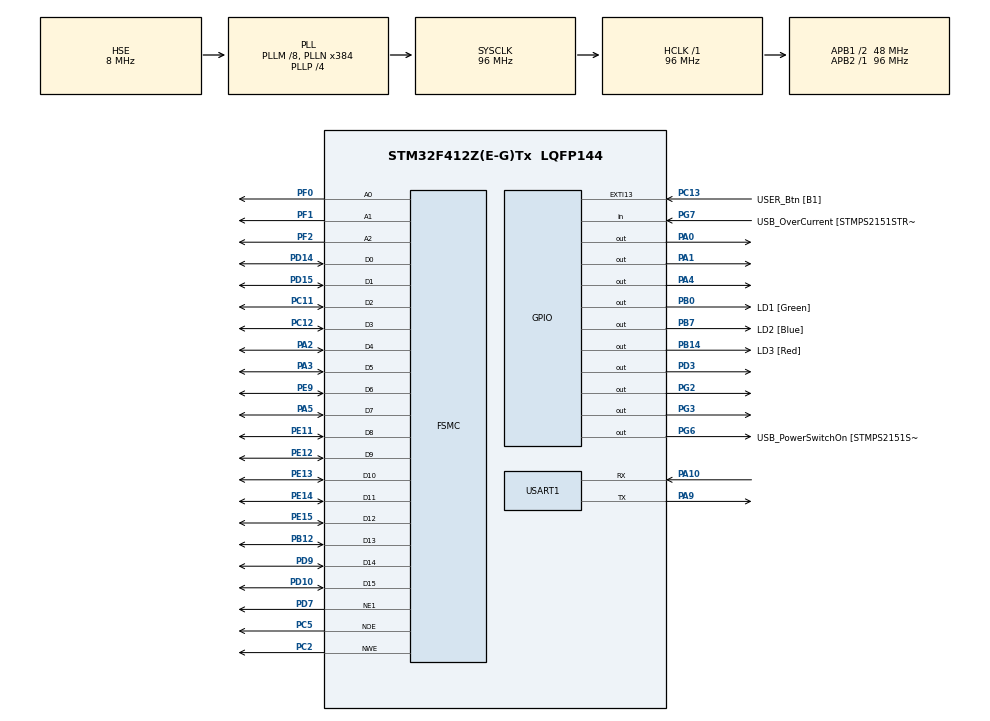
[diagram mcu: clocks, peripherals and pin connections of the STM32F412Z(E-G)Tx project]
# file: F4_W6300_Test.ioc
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FSMC.WriteOperation1=FSMC_WRITE_OPERATION_ENABLE
Mcu.Family=STM32F4
Mcu.Name=STM32F412Z(E-G)Tx
Mcu.Package=LQFP144
NVIC.PriorityGroup=NVIC_PRIORITYGROUP_4
NVIC.USART1_IRQn=true\:0\:0\:false\:false\:true\:true\:true
PA0.Signal=GPIO_Output
PA1.Signal=GPIO_Output
PA10.Mode=Asynchronous
PA10.Signal=USART1_RX
PA13.GPIO_Label=TMS
PA13.Mode=Serial_Wire
PA13.Signal=SYS_JTMS-SWDIO
PA14.GPIO_Label=TCK
PA14.Mode=Serial_Wire
PA14.Signal=SYS_JTCK-SWCLK
PA2.Signal=FSMC_D4_DA4
PA3.Signal=FSMC_D5_DA5
PA4.Signal=GPIO_Output
PA5.Signal=FSMC_D7_DA7
PA9.Mode=Asynchronous
PA9.Signal=USART1_TX
PB0.GPIO_Label=LD1 [Green]
PB0.Signal=GPIO_Output
PB12.Signal=FSMC_D13_DA13
PB14.GPIO_Label=LD3 [Red]
PB14.Signal=GPIO_Output
PB3.GPIO_Label=SWO
PB3.Signal=SYS_JTDO-SWO
PB7.GPIO_Label=LD2 [Blue]
PB7.Signal=GPIO_Output
PC11.Signal=FSMC_D2_DA2
PC12.Signal=FSMC_D3_DA3
PC13.GPIO_Label=USER_Btn [B1]
PC13.Signal=GPXTI13
PC14-OSC32_IN.Mode=LSE-External-Oscillator
PC14-OSC32_IN.Signal=RCC_OSC32_IN
PC15-OSC32_OUT.Mode=LSE-External-Oscillator
PC15-OSC32_OUT.Signal=RCC_OSC32_OUT
PC2.Signal=FSMC_NWE
PC5.Signal=FSMC_NOE
PD10.Signal=FSMC_D15_DA15
PD14.Signal=FSMC_D0_DA0
PD15.Signal=FSMC_D1_DA1
PD3.Signal=GPIO_Output
PD7.Mode=NorPsramChipSelect1_1
PD7.Signal=FSMC_NE1
PD9.Signal=FSMC_D14_DA14
PE11.Signal=FSMC_D8_DA8
PE12.Signal=FSMC_D9_DA9
PE13.Signal=FSMC_D10_DA10
PE14.Signal=FSMC_D11_DA11
PE15.Signal=FSMC_D12_DA12
PE9.Signal=FSMC_D6_DA6
PF0.Signal=FSMC_A0
PF1.Signal=FSMC_A1
PF2.Signal=FSMC_A2
PG2.Signal=GPIO_Output
PG3.Signal=GPIO_Output
PG6.GPIO_Label=USB_PowerSwitchOn [STMPS2151STR_EN]
PG6.Signal=GPIO_Output
PG7.GPIO_Label=USB_OverCurrent [STMPS2151STR_FAULT]
PG7.Signal=GPIO_Input
PH0\ -\ OSC_IN.GPIO_Label=MCO
PH0\ -\ OSC_IN.Mode=HSE-External-Clock-Source
PH0\ -\ OSC_IN.Signal=RCC_OSC_IN
PH1\ -\ OSC_OUT.Mode=HSE-External-Clock-Source
PH1\ -\ OSC_OUT.Signal=RCC_OSC_OUT
ProjectManager.HeapSize=0x200
ProjectManager.StackSize=0x400
ProjectManager.TargetToolchain=MDK-ARM V5.27
RCC.48MHZClocksFreq_Value=24000000
RCC.AHBFreq_Value=96000000
RCC.APB1CLKDivider=RCC_HCLK_DIV2
RCC.APB1Freq_Value=48000000
RCC.APB1TimFreq_Value=96000000
RCC.APB2Freq_Value=96000000
RCC.APB2TimFreq_Value=96000000
RCC.CortexFreq_Value=96000000
RCC.HCLKFreq_Value=96000000
RCC.HSE_VALUE=8000000
RCC.HSI_VALUE=16000000
RCC.PLLM=8
RCC.PLLMUL=RCC_PLL_MUL9
RCC.PLLN=384
RCC.PLLP=RCC_PLLP_DIV4
RCC.PLLQ=8
RCC.PLLSourceVirtual=RCC_PLLSOURCE_HSE
RCC.PRESCALERUSB=RCC_USBCLKSOURCE_PLL_DIV1_5
RCC.SYSCLKFreq_VALUE=96000000
RCC.SYSCLKSource=RCC_SYSCLKSOURCE_PLLCLK
RCC.SYSCLKSourceVirtual=RCC_SYSCLKSOURCE_PLLCLK
RCC.USBFreq_Value=48000000
RCC.VCOOutputFreq_Value=384000000
SH.FSMC_A0.0=FSMC_A0,3b-a1
SH.FSMC_A1.0=FSMC_A1,3b-a1
SH.FSMC_A2.0=FSMC_A2,3b-a1
SH.FSMC_D0_DA0.0=FSMC_D0,16b-d1
SH.FSMC_D10_DA10.0=FSMC_D10,16b-d1
SH.FSMC_D11_DA11.0=FSMC_D11,16b-d1
SH.FSMC_D12_DA12.0=FSMC_D12,16b-d1
SH.FSMC_D13_DA13.0=FSMC_D13,16b-d1
SH.FSMC_D14_DA14.0=FSMC_D14,16b-d1
SH.FSMC_D15_DA15.0=FSMC_D15,16b-d1
SH.FSMC_D1_DA1.0=FSMC_D1,16b-d1
SH.FSMC_D2_DA2.0=FSMC_D2,16b-d1
SH.FSMC_D3_DA3.0=FSMC_D3,16b-d1
SH.FSMC_D4_DA4.0=FSMC_D4,16b-d1
SH.FSMC_D5_DA5.0=FSMC_D5,16b-d1
SH.FSMC_D6_DA6.0=FSMC_D6,16b-d1
SH.FSMC_D7_DA7.0=FSMC_D7,16b-d1
SH.FSMC_D8_DA8.0=FSMC_D8,16b-d1
SH.FSMC_D9_DA9.0=FSMC_D9,16b-d1
SH.FSMC_NOE.0=FSMC_NOE,NorFlash1
SH.FSMC_NWE.0=FSMC_NWE,NorFlash1
USART1.VirtualMode=VM_ASYNC
board=NUCLEO-F412ZG

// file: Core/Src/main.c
/* USER CODE BEGIN Header */
/**
  ******************************************************************************
  * @file           : main.c
  * @brief          : Main program body
  ******************************************************************************
  * @attention
  *
  * <h2><center>&copy; Copyright (c) 2021 STMicroelectronics.
  * All rights reserved.</center></h2>
  *
  * This software component is licensed by ST under BSD 3-Clause license,
  * the "License"; You may not use this file except in compliance with the
  * License. You may obtain a copy of the License at:
  *                        opensource.org/licenses/BSD-3-Clause
  *
  ******************************************************************************
  */
/* USER CODE END Header */
#include "main.h"

/* USER CODE BEGIN Includes */
#include "stdio.h"
#include "w6300.h"
#include "wizchip_conf.h"
#include "loopback.h"

/* USER CODE END Includes */

/* USER CODE BEGIN PTD */
#define KEIL //KEIL ,True_STD
#define DATA_BUF_SIZE 512

/* USER CODE END PTD */

/* USER CODE BEGIN PM */
wiz_NetInfo gWIZNETINFO = { .mac = {0x00,0x08,0xdc,0xFF,0xFF,0xFF},
							  .ip = {192,168,1,55},
							  .sn = {255, 255, 255, 0},
							  .gw = {192, 168, 1, 1},
							  .dns = {168, 126, 63, 1},
							  //.dhcp = NETINFO_STATIC,
							  .lla={0xfe,0x80,0x00,0x00,
									  0x00,0x00, 0x00,0x00,
									  0x02,0x08, 0xdc,0xff,
									  0xfe,0x57, 0x57,0x25},   ///< Source Link Local Address
							  .gua={0x00, 0x00, 0x00, 0x00,
									  0x00, 0x00, 0x00, 0x00,
									  0x00, 0x00, 0x00, 0x00,
									  0x00, 0x00, 0x00, 0x00},	 ///< Source Global Unicast Address
							  .sn6={0xff,0xff,0xff,0xff,
									  0xff,0xff,0xff,0xff,
									  0x00, 0x00, 0x00, 0x00,
									  0x00, 0x00, 0x00, 0x00 },   ///< IPv6 Prefix
							  .gw6={0x00, 0x00, 0x00, 0x00,
									  0x00, 0x00, 0x00, 0x00,
									  0x00, 0x00, 0x00, 0x00,
									  0x00, 0x00, 0x00, 0x00}	///< Gateway IPv6 Address
  };

  uint8_t WIZ_Dest_IP_virtual[4] = {192, 168, 0, 230};					//DST_IP Address
  uint8_t WIZ_Dest_IP_Google[4] = {216, 58, 200, 174};				//DST_IP Address

uint8_t mcastipv4_0[4] ={239,1,2,3};
uint8_t mcastipv4_1[4] ={239,1,2,4};
uint8_t mcastipv4_2[4] ={239,1,2,5};
uint8_t mcastipv4_3[4] ={239,1,2,6};

uint16_t WIZ_Dest_PORT = 15000;                                 //DST_IP port

#define ETH_MAX_BUF_SIZE	1024

uint8_t  remote_ip[4] = {192,168,177,200};                      //
uint16_t remote_port = 8080;

unsigned char ethBuf0[ETH_MAX_BUF_SIZE];
unsigned char ethBuf1[ETH_MAX_BUF_SIZE];
unsigned char ethBuf2[ETH_MAX_BUF_SIZE];
unsigned char ethBuf3[ETH_MAX_BUF_SIZE];
unsigned char ethBuf4[ETH_MAX_BUF_SIZE];
unsigned char ethBuf5[ETH_MAX_BUF_SIZE];
unsigned char ethBuf6[ETH_MAX_BUF_SIZE];
unsigned char ethBuf7[ETH_MAX_BUF_SIZE];

uint8_t bLoopback = 1;
uint8_t bRandomPacket = 0;
uint8_t bAnyPacket = 0;
uint16_t pack_size = 0;

void print_network_information(void);
void print_ipv6_addr(uint8_t* name, uint8_t* ip6addr);

/* USER CODE END PM */

UART_HandleTypeDef huart1;

NOR_HandleTypeDef hnor1;

void SystemClock_Config(void);
static void MX_GPIO_Init(void);
static void MX_FSMC_Init(void);
static void MX_USART1_UART_Init(void);

/* USER CODE BEGIN 0 */
#ifdef KEIL
    #if 1
      #ifdef __GNUC__
      //With GCC, small printf (option LD Linker->Libraries->Small printf
      //set to 'Yes') calls __io_putchar()
         #define PUTCHAR_PROTOTYPE int __io_putchar(int ch)
	  #else
		 #define PUTCHAR_PROTOTYPE int fputc(int ch, FILE *f)
	  #endif /* __GNUC__*/
    #if 1
    PUTCHAR_PROTOTYPE
    {
      HAL_UART_Transmit(&huart1, (uint8_t *)&ch, 1, 0xFFFF);
			//ITM_SendChar(ch);
      return ch;
    }
    #endif
		#else
		int fputc(int c, FILE *f)
		{
			//HAL_UART_Transmit(&huart3, (uint8_t *)&c, 1, 0xFFFF);
			return (ITM_SendChar(c));
			//return c;
		}
		#endif
  #endif

  #ifdef True_STD
  int _write(int fd, char *str, int len)
  {
    for(int i=0; i<len; i++)
    {
      HAL_UART_Transmit(&huart1, (uint8_t *)&str[i], 1, 0xFFFF);
    }
    return len;
  }
 #endif
void W6300BusWriteByte(uint32_t addr, iodata_t data)
{
	#if 1	//teddy 210422
	//(*(volatile uint8_t*)(addr)) = (uint8_t)(data);
	(*(__IO uint8_t *)((uint32_t)(addr)) = (data));
	#else
	iodata_t Indata[2]={0, 0};
	Indata[0] = data;
	//printf("W%x:%x ",addr, data);
	if(HAL_SRAM_Write_8b(&hsram1, (uint32_t *)addr, (uint16_t *)data, 1) != HAL_OK)
		printf("BusWritError \r\n");
	#endif
}

iodata_t W6300BusReadByte(uint32_t addr)
{
	#if 1	//teddy 210422
	//return (*((volatile uint8_t*)(addr)));
	return *(__IO uint8_t *)((uint32_t)(addr));
	#else
	iodata_t result[2] = {0,0};
	if(HAL_SRAM_Read_8b(&hsram1, (uint32_t *)addr, (uint16_t *)result, 1) != HAL_OK)
		printf("BussReadError \r\n");
	printf("R%x:%x ", addr, result[0]);
	return result[0];
	#endif
}

void W6300BusWriteBurst(uint32_t addr, uint8_t* pBuf ,uint32_t len,uint8_t addr_inc)
{
#ifdef USE_STDPERIPH_DRIVER

	if(addr_inc){
	 	DMA_TX_InitStructure.DMA_MemoryInc  = DMA_MemoryInc_Enable;

	}
	else 	DMA_TX_InitStructure.DMA_MemoryInc  = DMA_MemoryInc_Disable;

	DMA_TX_InitStructure.DMA_BufferSize = len;
	DMA_TX_InitStructure.DMA_MemoryBaseAddr = addr;
	DMA_TX_InitStructure.DMA_PeripheralBaseAddr = pBuf;

	DMA_Init(W6100_DMA_CHANNEL_TX, &DMA_TX_InitStructure);

	DMA_Cmd(W6100_DMA_CHANNEL_TX, ENABLE);

	/* Enable SPI Rx/Tx DMA Request*/

	/* Waiting for the end of Data Transfer */
	while(DMA_GetFlagStatus(DMA_TX_FLAG) == RESET);

	DMA_ClearFlag(DMA_TX_FLAG);

	DMA_Cmd(W6100_DMA_CHANNEL_TX, DISABLE);

#elif defined USE_HAL_DRIVER

#endif
#if 0
	if(HAL_SRAM_Write_8b(&hsram1, (uint32_t *)addr, pBuf, len) != HAL_OK)
		printf("BusWritError \r\n");
#endif

}

void W6300BusReadBurst(uint32_t addr,uint8_t* pBuf, uint32_t len,uint8_t addr_inc)
{
#ifdef USE_STDPERIPH_DRIVER

	DMA_RX_InitStructure.DMA_BufferSize = len;
	DMA_RX_InitStructure.DMA_MemoryBaseAddr =pBuf;
	DMA_RX_InitStructure.DMA_PeripheralBaseAddr =addr;

	DMA_Init(W6100_DMA_CHANNEL_RX, &DMA_RX_InitStructure);

	DMA_Cmd(W6100_DMA_CHANNEL_RX, ENABLE);
	/* Waiting for the end of Data Transfer */
	while(DMA_GetFlagStatus(DMA_RX_FLAG) == RESET);

	DMA_ClearFlag(DMA_RX_FLAG);

	DMA_Cmd(W6100_DMA_CHANNEL_RX, DISABLE);

#elif defined USE_HAL_DRIVER

#endif
#if 0
	if(HAL_SRAM_Read_8b(&hsram1, (uint32_t *)addr, pBuf, len) != HAL_OK)
			printf("BussReadError \r\n");
#endif

}
void W6300CsEnable(void)
{
#if 0
	__HAL_LOCK(&hsram1);
	hsram1.State = HAL_SRAM_STATE_BUSY;
#endif
}

void W6300CsDisable(void)
{
#if 0
	__HAL_UNLOCK(&hsram1);
	hsram1.State = HAL_SRAM_STATE_READY;
#endif
}

void W6300Initialze(void)
{
		//W6100Reset();

#if _WIZCHIP_IO_MODE_ & _WIZCHIP_IO_MODE_SPI_
	/* SPI method callback registration */
	#if defined SPI_DMA
		reg_wizchip_spi_cbfunc(W6300SpiReadByte, W6300SpiWriteByte, W6300SpiReadBurst, W6300SpiWriteBurst);
	#else
		reg_wizchip_spi_cbfunc(W6300SpiReadByte, W6300SpiWriteByte, 0, 0);
	#endif
		/* CS function register */
		reg_wizchip_cs_cbfunc(W6100CsEnable, W6100CsDisable);
#else
	/* Indirect bus method callback registration */
	#if defined BUS_DMA
		reg_wizchip_bus_cbfunc(W6300BusReadByte, W6300BusWriteByte, W6300BusReadBurst, W6300BusWriteBurst);
	#else
		reg_wizchip_bus_cbfunc(W6300BusReadByte, W6300BusWriteByte, 0, 0);
	#endif
		reg_wizchip_cs_cbfunc(W6300CsEnable, W6300CsDisable);
#endif
		uint8_t temp;
		unsigned char W6100_AdrSet[2][8] = {{2, 2, 2, 2, 2, 2, 2, 2}, {2, 2, 2, 2, 2, 2, 2, 2}};
		uint16_t RegTemp = 0;
		//RegTemp = (uint16_t)WIZCHIP_READ(_CIDR_);
		//printf("CIDR_ = %04x \r\n", RegTemp);
		RegTemp = getCIDR();
		printf("CIDR = %04x \r\n", RegTemp);
		RegTemp = getVER();
		printf("VER = %04x \r\n", RegTemp);
		#if 0 //teddy st
		do
		{
			if (ctlwizchip(CW_GET_PHYLINK, (void *)&temp) == -1)
			{
				printf("Unknown PHY link status.\r\n");
			}
		} while (temp == PHY_LINK_OFF);

		printf("PHY OK.\r\n");

	#endif
}

/* USER CODE END 0 */

int main(void)
{

  /* MCU Configuration--------------------------------------------------------*/

  /* Reset of all peripherals, Initializes the Flash interface and the Systick. */
  HAL_Init();

  /* Configure the system clock */
  SystemClock_Config();

  /* Initialize all configured peripherals */
  MX_GPIO_Init();
  MX_FSMC_Init();
  MX_USART1_UART_Init();
  /* USER CODE BEGIN 2 */
  printf("Hello Start!!\r\n");
  W6300Initialze();

  /* USER CODE END 2 */

  /* Infinite loop */
  while (1)
  {

  }
}

void SystemClock_Config(void)
{
  RCC_OscInitTypeDef RCC_OscInitStruct = {0};
  RCC_ClkInitTypeDef RCC_ClkInitStruct = {0};

  /** Configure the main internal regulator output voltage
  */
  __HAL_RCC_PWR_CLK_ENABLE();
  __HAL_PWR_VOLTAGESCALING_CONFIG(PWR_REGULATOR_VOLTAGE_SCALE1);
  /** Initializes the RCC Oscillators according to the specified parameters
  * in the RCC_OscInitTypeDef structure.
  */
  RCC_OscInitStruct.OscillatorType = RCC_OSCILLATORTYPE_HSE;
  RCC_OscInitStruct.HSEState = RCC_HSE_BYPASS;
  RCC_OscInitStruct.PLL.PLLState = RCC_PLL_ON;
  RCC_OscInitStruct.PLL.PLLSource = RCC_PLLSOURCE_HSE;
  RCC_OscInitStruct.PLL.PLLM = 8;
  RCC_OscInitStruct.PLL.PLLN = 384;
  RCC_OscInitStruct.PLL.PLLP = RCC_PLLP_DIV4;
  RCC_OscInitStruct.PLL.PLLQ = 8;
  RCC_OscInitStruct.PLL.PLLR = 2;
  if (HAL_RCC_OscConfig(&RCC_OscInitStruct) != HAL_OK)
  {
    Error_Handler();
  }
  /** Initializes the CPU, AHB and APB buses clocks
  */
  RCC_ClkInitStruct.ClockType = RCC_CLOCKTYPE_HCLK|RCC_CLOCKTYPE_SYSCLK
                              |RCC_CLOCKTYPE_PCLK1|RCC_CLOCKTYPE_PCLK2;
  RCC_ClkInitStruct.SYSCLKSource = RCC_SYSCLKSOURCE_PLLCLK;
  RCC_ClkInitStruct.AHBCLKDivider = RCC_SYSCLK_DIV1;
  RCC_ClkInitStruct.APB1CLKDivider = RCC_HCLK_DIV2;
  RCC_ClkInitStruct.APB2CLKDivider = RCC_HCLK_DIV1;

  if (HAL_RCC_ClockConfig(&RCC_ClkInitStruct, FLASH_LATENCY_3) != HAL_OK)
  {
    Error_Handler();
  }
}

static void MX_USART1_UART_Init(void)
{

  huart1.Instance = USART1;
  huart1.Init.BaudRate = 115200;
  huart1.Init.WordLength = UART_WORDLENGTH_8B;
  huart1.Init.StopBits = UART_STOPBITS_1;
  huart1.Init.Parity = UART_PARITY_NONE;
  huart1.Init.Mode = UART_MODE_TX_RX;
  huart1.Init.HwFlowCtl = UART_HWCONTROL_NONE;
  huart1.Init.OverSampling = UART_OVERSAMPLING_16;
  if (HAL_UART_Init(&huart1) != HAL_OK)
  {
    Error_Handler();
  }

}

static void MX_GPIO_Init(void)
{
  GPIO_InitTypeDef GPIO_InitStruct = {0};

  /* GPIO Ports Clock Enable */
  __HAL_RCC_GPIOC_CLK_ENABLE();
  __HAL_RCC_GPIOF_CLK_ENABLE();
  __HAL_RCC_GPIOH_CLK_ENABLE();
  __HAL_RCC_GPIOA_CLK_ENABLE();
  __HAL_RCC_GPIOB_CLK_ENABLE();
  __HAL_RCC_GPIOE_CLK_ENABLE();
  __HAL_RCC_GPIOD_CLK_ENABLE();
  __HAL_RCC_GPIOG_CLK_ENABLE();

  /*Configure GPIO pin Output Level */
  HAL_GPIO_WritePin(GPIOA, GPIO_PIN_0|GPIO_PIN_1|GPIO_PIN_4, GPIO_PIN_RESET);

  /*Configure GPIO pin Output Level */
  HAL_GPIO_WritePin(GPIOB, LD1_Pin|LD3_Pin|LD2_Pin, GPIO_PIN_RESET);

  /*Configure GPIO pin Output Level */
  HAL_GPIO_WritePin(GPIOG, GPIO_PIN_2|GPIO_PIN_3|USB_PowerSwitchOn_Pin, GPIO_PIN_RESET);

  /*Configure GPIO pin Output Level */
  HAL_GPIO_WritePin(GPIOD, GPIO_PIN_3, GPIO_PIN_RESET);

  /*Configure GPIO pin : USER_Btn_Pin */
  GPIO_InitStruct.Pin = USER_Btn_Pin;
  GPIO_InitStruct.Mode = GPIO_MODE_IT_RISING;
  GPIO_InitStruct.Pull = GPIO_NOPULL;
  HAL_GPIO_Init(USER_Btn_GPIO_Port, &GPIO_InitStruct);

  /*Configure GPIO pins : PA0 PA1 PA4 */
  GPIO_InitStruct.Pin = GPIO_PIN_0|GPIO_PIN_1|GPIO_PIN_4;
  GPIO_InitStruct.Mode = GPIO_MODE_OUTPUT_PP;
  GPIO_InitStruct.Pull = GPIO_NOPULL;
  GPIO_InitStruct.Speed = GPIO_SPEED_FREQ_LOW;
  HAL_GPIO_Init(GPIOA, &GPIO_InitStruct);

  /*Configure GPIO pins : LD1_Pin LD3_Pin LD2_Pin */
  GPIO_InitStruct.Pin = LD1_Pin|LD3_Pin|LD2_Pin;
  GPIO_InitStruct.Mode = GPIO_MODE_OUTPUT_PP;
  GPIO_InitStruct.Pull = GPIO_NOPULL;
  GPIO_InitStruct.Speed = GPIO_SPEED_FREQ_LOW;
  HAL_GPIO_Init(GPIOB, &GPIO_InitStruct);

  /*Configure GPIO pins : PG2 PG3 USB_PowerSwitchOn_Pin */
  GPIO_InitStruct.Pin = GPIO_PIN_2|GPIO_PIN_3|USB_PowerSwitchOn_Pin;
  GPIO_InitStruct.Mode = GPIO_MODE_OUTPUT_PP;
  GPIO_InitStruct.Pull = GPIO_NOPULL;
  GPIO_InitStruct.Speed = GPIO_SPEED_FREQ_LOW;
  HAL_GPIO_Init(GPIOG, &GPIO_InitStruct);

  /*Configure GPIO pin : USB_OverCurrent_Pin */
  GPIO_InitStruct.Pin = USB_OverCurrent_Pin;
  GPIO_InitStruct.Mode = GPIO_MODE_INPUT;
  GPIO_InitStruct.Pull = GPIO_NOPULL;
  HAL_GPIO_Init(USB_OverCurrent_GPIO_Port, &GPIO_InitStruct);

  /*Configure GPIO pin : PD3 */
  GPIO_InitStruct.Pin = GPIO_PIN_3;
  GPIO_InitStruct.Mode = GPIO_MODE_OUTPUT_PP;
  GPIO_InitStruct.Pull = GPIO_NOPULL;
  GPIO_InitStruct.Speed = GPIO_SPEED_FREQ_LOW;
  HAL_GPIO_Init(GPIOD, &GPIO_InitStruct);

}

/* FSMC initialization function */
static void MX_FSMC_Init(void)
{

  FSMC_NORSRAM_TimingTypeDef Timing = {0};

  /** Perform the NOR1 memory initialization sequence
  */
  hnor1.Instance = FSMC_NORSRAM_DEVICE;
  hnor1.Extended = FSMC_NORSRAM_EXTENDED_DEVICE;
  /* hnor1.Init */
  hnor1.Init.NSBank = FSMC_NORSRAM_BANK1;
  hnor1.Init.DataAddressMux = FSMC_DATA_ADDRESS_MUX_DISABLE;
  hnor1.Init.MemoryType = FSMC_MEMORY_TYPE_NOR;
  hnor1.Init.MemoryDataWidth = FSMC_NORSRAM_MEM_BUS_WIDTH_16;
  hnor1.Init.BurstAccessMode = FSMC_BURST_ACCESS_MODE_DISABLE;
  hnor1.Init.WaitSignalPolarity = FSMC_WAIT_SIGNAL_POLARITY_LOW;
  hnor1.Init.WaitSignalActive = FSMC_WAIT_TIMING_BEFORE_WS;
  hnor1.Init.WriteOperation = FSMC_WRITE_OPERATION_ENABLE;
  hnor1.Init.WaitSignal = FSMC_WAIT_SIGNAL_DISABLE;
  hnor1.Init.ExtendedMode = FSMC_EXTENDED_MODE_DISABLE;
  hnor1.Init.AsynchronousWait = FSMC_ASYNCHRONOUS_WAIT_DISABLE;
  hnor1.Init.WriteBurst = FSMC_WRITE_BURST_DISABLE;
  hnor1.Init.ContinuousClock = FSMC_CONTINUOUS_CLOCK_SYNC_ONLY;
  hnor1.Init.WriteFifo = FSMC_WRITE_FIFO_ENABLE;
  hnor1.Init.PageSize = FSMC_PAGE_SIZE_NONE;
  /* Timing */
  Timing.AddressSetupTime = 15;
  Timing.AddressHoldTime = 15;
  Timing.DataSetupTime = 255;
  Timing.BusTurnAroundDuration = 15;
  Timing.CLKDivision = 16;
  Timing.DataLatency = 17;
  Timing.AccessMode = FSMC_ACCESS_MODE_A;
  /* ExtTiming */

  if (HAL_NOR_Init(&hnor1, &Timing, NULL) != HAL_OK)
  {
    Error_Handler( );
  }

}

void Error_Handler(void)
{
  __disable_irq();
  while (1)
  {
  }
}

/************************ (C) COPYRIGHT STMicroelectronics *****END OF FILE****/
